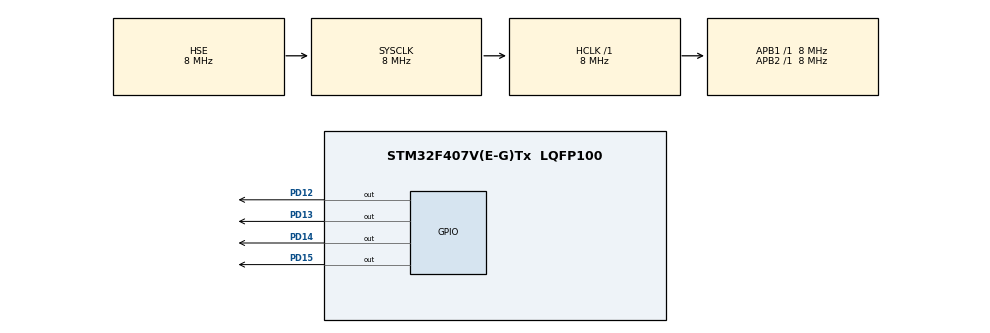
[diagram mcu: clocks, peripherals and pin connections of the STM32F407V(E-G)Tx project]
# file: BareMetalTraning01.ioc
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Mcu.Family=STM32F4
Mcu.Name=STM32F407V(E-G)Tx
Mcu.Package=LQFP100
NVIC.PriorityGroup=NVIC_PRIORITYGROUP_4
PA13.Mode=Serial_Wire
PA13.Signal=SYS_JTMS-SWDIO
PA14.Mode=Serial_Wire
PA14.Signal=SYS_JTCK-SWCLK
PD12.Signal=GPIO_Output
PD13.Signal=GPIO_Output
PD14.Signal=GPIO_Output
PD15.Signal=GPIO_Output
PH0-OSC_IN.Mode=HSE-External-Oscillator
PH0-OSC_IN.Signal=RCC_OSC_IN
PH1-OSC_OUT.Mode=HSE-External-Oscillator
PH1-OSC_OUT.Signal=RCC_OSC_OUT
ProjectManager.HeapSize=0x200
ProjectManager.StackSize=0x400
ProjectManager.TargetToolchain=STM32CubeIDE
RCC.48MHZClocksFreq_Value=24000000
RCC.AHBFreq_Value=8000000
RCC.APB1Freq_Value=8000000
RCC.APB1TimFreq_Value=8000000
RCC.APB2Freq_Value=8000000
RCC.APB2TimFreq_Value=8000000
RCC.CortexFreq_Value=8000000
RCC.HCLKFreq_Value=8000000
RCC.HSE_VALUE=8000000
RCC.HSI_VALUE=16000000
RCC.LSE_VALUE=32768
RCC.PLLSourceVirtual=RCC_PLLSOURCE_HSE
RCC.SYSCLKFreq_VALUE=8000000
RCC.SYSCLKSource=RCC_SYSCLKSOURCE_HSE
RCC.VCOOutputFreq_Value=96000000
board=custom

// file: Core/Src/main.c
/* USER CODE BEGIN Header */
/**
 ******************************************************************************
 * @file           : main.c
 * @brief          : Main program body
 ******************************************************************************
 * @attention
 *
 * Copyright (c) 2023 STMicroelectronics.
 * All rights reserved.
 *
 * This software is licensed under terms that can be found in the LICENSE file
 * in the root directory of this software component.
 * If no LICENSE file comes with this software, it is provided AS-IS.
 *
 ******************************************************************************
 */
/* USER CODE END Header */
#include "main.h"
#include "gpio.h"

void SystemClock_Config(void);

/* USER CODE BEGIN 0 */
#define led_number 4
#define startup_delay 100
#define perioD 1000
#define impulS 500

const uint16_t led_num = led_number; //pcs of used LED;

typedef struct LED {
	uint32_t period; // blink period
	uint32_t impuls; //on time
	uint32_t start_delay; // startup delay
	uint16_t pin; // blink pin
	GPIO_TypeDef *port; //blink port
} led_t;

led_t LED[led_number];

/* USER CODE END 0 */

int main(void) {

	for (uint16_t i = 0; i < led_num; i++) {
		LED[i].period = perioD;
		LED[i].impuls = impulS;
		LED[i].port = GPIOD;
	}
	LED[0].pin = GPIO_PIN_12;
	LED[1].pin = GPIO_PIN_13;
	LED[2].pin = GPIO_PIN_14;
	LED[3].pin = GPIO_PIN_15;

	uint32_t sds = startup_delay; //start_delay_step
	LED[0].start_delay = sds;
	LED[1].start_delay = sds * 2;
	LED[2].start_delay = sds * 3;
	LED[3].start_delay = sds * 4;

	/* USER CODE END 1 */

	/* MCU Configuration--------------------------------------------------------*/

	/* Reset of all peripherals, Initializes the Flash interface and the Systick. */
	HAL_Init();

	/* Configure the system clock */
	SystemClock_Config();

	/* Initialize all configured peripherals */
	MX_GPIO_Init();
	/* USER CODE BEGIN 2 */
	volatile uint32_t lastTick = 0; //tick counter
	uint32_t quantum = 1; //cycle blink quantum
	/* USER CODE END 2 */

	/* Infinite loop */
	/* USER CODE BEGIN WHILE */
	while (1) {
		if (HAL_GetTick() - lastTick >= quantum) { //check status every (ms) quantum

			for (uint32_t j = 0; j < led_num; j++) {
				if (lastTick >= LED[j].start_delay) //check if start time come
						{
					if (((lastTick + LED[j].period - LED[j].start_delay)
							% LED[j].period) == 0) // if time turn on pin
							{
						HAL_GPIO_WritePin(LED[j].port, LED[j].pin, GPIO_PIN_SET);
					}
					if (((lastTick + LED[j].period - LED[j].start_delay
							- LED[j].impuls) % LED[j].period) == 0) // if time turn off pin
							{
						HAL_GPIO_WritePin(LED[j].port, LED[j].pin, GPIO_PIN_RESET);
					}

				}
			}
			lastTick = HAL_GetTick();
		}
		/* USER CODE END WHILE */

	}
}

void SystemClock_Config(void) {
	RCC_OscInitTypeDef RCC_OscInitStruct = { 0 };
	RCC_ClkInitTypeDef RCC_ClkInitStruct = { 0 };

	/** Configure the main internal regulator output voltage
	 */
	__HAL_RCC_PWR_CLK_ENABLE();
	__HAL_PWR_VOLTAGESCALING_CONFIG(PWR_REGULATOR_VOLTAGE_SCALE1);

	/** Initializes the RCC Oscillators according to the specified parameters
	 * in the RCC_OscInitTypeDef structure.
	 */
	RCC_OscInitStruct.OscillatorType = RCC_OSCILLATORTYPE_HSE;
	RCC_OscInitStruct.HSEState = RCC_HSE_ON;
	RCC_OscInitStruct.PLL.PLLState = RCC_PLL_NONE;
	if (HAL_RCC_OscConfig(&RCC_OscInitStruct) != HAL_OK) {
		Error_Handler();
	}

	/** Initializes the CPU, AHB and APB buses clocks
	 */
	RCC_ClkInitStruct.ClockType = RCC_CLOCKTYPE_HCLK | RCC_CLOCKTYPE_SYSCLK
			| RCC_CLOCKTYPE_PCLK1 | RCC_CLOCKTYPE_PCLK2;
	RCC_ClkInitStruct.SYSCLKSource = RCC_SYSCLKSOURCE_HSE;
	RCC_ClkInitStruct.AHBCLKDivider = RCC_SYSCLK_DIV1;
	RCC_ClkInitStruct.APB1CLKDivider = RCC_HCLK_DIV1;
	RCC_ClkInitStruct.APB2CLKDivider = RCC_HCLK_DIV1;

	if (HAL_RCC_ClockConfig(&RCC_ClkInitStruct, FLASH_LATENCY_0) != HAL_OK) {
		Error_Handler();
	}
}

void Error_Handler(void) {
	__disable_irq();
	while (1) {
	}
}
